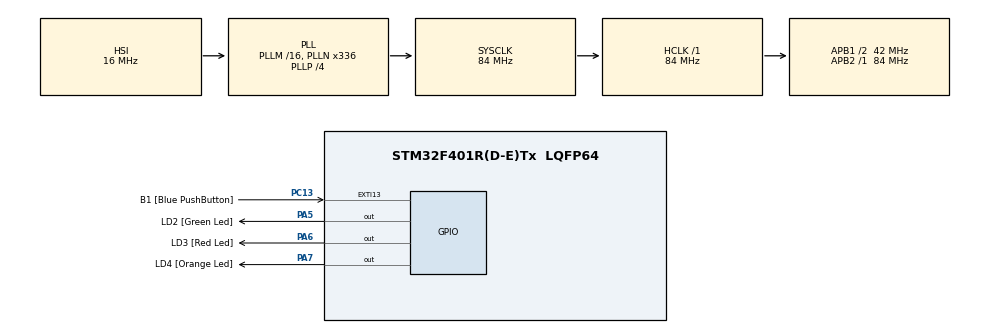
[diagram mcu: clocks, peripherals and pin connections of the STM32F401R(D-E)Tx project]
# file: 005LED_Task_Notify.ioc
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Mcu.Family=STM32F4
Mcu.Name=STM32F401R(D-E)Tx
Mcu.Package=LQFP64
NVIC.PriorityGroup=NVIC_PRIORITYGROUP_4
NVIC.TIM5_IRQn=true\:0\:0\:false\:false\:true\:false\:true\:true
NVIC.TimeBase=TIM5_IRQn
NVIC.TimeBaseIP=TIM5
PA13.GPIO_Label=TMS
PA13.Signal=SYS_JTMS-SWDIO
PA14.GPIO_Label=TCK
PA14.Signal=SYS_JTCK-SWCLK
PA2.GPIO_Label=USART_TX
PA2.GPIO_Mode=GPIO_MODE_AF_PP
PA2.GPIO_PuPd=GPIO_NOPULL
PA2.GPIO_Speed=GPIO_SPEED_FREQ_LOW
PA2.Signal=USART2_TX
PA3.GPIO_Label=USART_RX
PA3.GPIO_Mode=GPIO_MODE_AF_PP
PA3.GPIO_PuPd=GPIO_NOPULL
PA3.GPIO_Speed=GPIO_SPEED_FREQ_LOW
PA3.Signal=USART2_RX
PA5.GPIO_Label=LD2 [Green Led]
PA5.GPIO_Mode=GPIO_MODE_OUTPUT_PP
PA5.GPIO_PuPd=GPIO_NOPULL
PA5.GPIO_Speed=GPIO_SPEED_FREQ_LOW
PA5.Signal=GPIO_Output
PA6.GPIO_Label=LD3 [Red Led]
PA6.Signal=GPIO_Output
PA7.GPIO_Label=LD4 [Orange Led]
PA7.Signal=GPIO_Output
PB3.GPIO_Label=SWO
PB3.Signal=SYS_JTDO-SWO
PC13-ANTI_TAMP.GPIO_Label=B1 [Blue PushButton]
PC13-ANTI_TAMP.GPIO_ModeDefaultEXTI=GPIO_MODE_IT_FALLING
PC13-ANTI_TAMP.GPIO_PuPd=GPIO_NOPULL
PC13-ANTI_TAMP.Signal=GPXTI13
PC14-OSC32_IN.Signal=RCC_OSC32_IN
PC15-OSC32_OUT.Signal=RCC_OSC32_OUT
PH0\ -\ OSC_IN.Signal=RCC_OSC_IN
PH1\ -\ OSC_OUT.Signal=RCC_OSC_OUT
ProjectManager.HeapSize=0x200
ProjectManager.StackSize=0x400
ProjectManager.TargetToolchain=STM32CubeIDE
RCC.AHBFreq_Value=84000000
RCC.APB1CLKDivider=RCC_HCLK_DIV2
RCC.APB1Freq_Value=42000000
RCC.APB1TimFreq_Value=84000000
RCC.APB2Freq_Value=84000000
RCC.APB2TimFreq_Value=84000000
RCC.CortexFreq_Value=84000000
RCC.HCLKFreq_Value=84000000
RCC.HSE_VALUE=8000000
RCC.HSI_VALUE=16000000
RCC.LSE_VALUE=32768
RCC.PLLN=336
RCC.PLLP=RCC_PLLP_DIV4
RCC.PLLQ=7
RCC.SYSCLKFreq_VALUE=84000000
RCC.SYSCLKSource=RCC_SYSCLKSOURCE_PLLCLK
RCC.VCOOutputFreq_Value=336000000
VP_SYS_VS_tim5.Mode=TIM5
board=NUCLEO-F401RE

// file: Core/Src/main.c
/* USER CODE BEGIN Header */
/**
  ******************************************************************************
  * @file           : main.c
  * @brief          : Main program body
  ******************************************************************************
  * @attention
  *
  * Copyright (c) 2024 STMicroelectronics.
  * All rights reserved.
  *
  * This software is licensed under terms that can be found in the LICENSE file
  * in the root directory of this software component.
  * If no LICENSE file comes with this software, it is provided AS-IS.
  *
  ******************************************************************************
  */
/* USER CODE END Header */
#include "main.h"

/* USER CODE BEGIN Includes */
#include <stdio.h>
#include "FreeRTOS.h"
#include "task.h"
/* USER CODE END Includes */

/* USER CODE BEGIN PV */
#define DWT_CTRL (*(volatile uint32_t*)0xE0001000)
/* USER CODE END PV */

void SystemClock_Config(void);
static void MX_GPIO_Init(void);
/* USER CODE BEGIN PFP */
static void led_green_handler(void* parameters);
static void led_red_handler(void* parameters);
static void led_orange_handler(void* parameters);
static void button_handler(void* parameters);

TaskHandle_t ledg_task_handle;
TaskHandle_t ledo_task_handle;
TaskHandle_t ledr_task_handle;
TaskHandle_t btn_task_handle;

TaskHandle_t volatile next_task_handle;

/* USER CODE END PFP */

int main(void)
{

  /* USER CODE BEGIN 1 */

	BaseType_t status;

  /* USER CODE END 1 */

  /* MCU Configuration--------------------------------------------------------*/

  /* Reset of all peripherals, Initializes the Flash interface and the Systick. */
  HAL_Init();

  /* Configure the system clock */
  SystemClock_Config();

  /* Initialize all configured peripherals */
  MX_GPIO_Init();
  /* USER CODE BEGIN 2 */

  //Enable the CYCCNT counter
  DWT_CTRL |= (1 << 0);

  SEGGER_SYSVIEW_Conf();

  SEGGER_SYSVIEW_Start();

  status = xTaskCreate(led_green_handler,"LED_green_task",200,NULL,3,&ledg_task_handle);

  configASSERT(status == pdPASS);

  next_task_handle = ledg_task_handle;

  status = xTaskCreate(led_red_handler,"LED_red_task",200,NULL,1,&ledr_task_handle);

  configASSERT(status == pdPASS);

  status = xTaskCreate(led_orange_handler,"LED_orange_task",200,NULL,2,&ledo_task_handle);

  configASSERT(status == pdPASS);

  status = xTaskCreate(button_handler,"Button_task",200,NULL,4,&btn_task_handle);

  configASSERT(status == pdPASS);

  //start the freeRTOS scheduler
  vTaskStartScheduler();

  /* USER CODE END 2 */

  /* Infinite loop */
  while (1)
  {
	  /*
	      HAL_GPIO_TogglePin(GPIOA, LED_GREEN_PIN);   // PA5
	      HAL_GPIO_TogglePin(GPIOA, LED_RED_PIN);     // PA6
	      HAL_GPIO_TogglePin(GPIOA, LED_ORANGE_PIN);  // PA7
	      HAL_Delay(1000);  // 1 sekunda pauze
	  */

  }
}

void SystemClock_Config(void)
{
  RCC_OscInitTypeDef RCC_OscInitStruct = {0};
  RCC_ClkInitTypeDef RCC_ClkInitStruct = {0};

  /** Configure the main internal regulator output voltage
  */
  __HAL_RCC_PWR_CLK_ENABLE();
  __HAL_PWR_VOLTAGESCALING_CONFIG(PWR_REGULATOR_VOLTAGE_SCALE2);

  /** Initializes the RCC Oscillators according to the specified parameters
  * in the RCC_OscInitTypeDef structure.
  */
  RCC_OscInitStruct.OscillatorType = RCC_OSCILLATORTYPE_HSI;
  RCC_OscInitStruct.HSIState = RCC_HSI_ON;
  RCC_OscInitStruct.HSICalibrationValue = RCC_HSICALIBRATION_DEFAULT;
  RCC_OscInitStruct.PLL.PLLState = RCC_PLL_ON;
  RCC_OscInitStruct.PLL.PLLSource = RCC_PLLSOURCE_HSI;
  RCC_OscInitStruct.PLL.PLLM = 16;
  RCC_OscInitStruct.PLL.PLLN = 336;
  RCC_OscInitStruct.PLL.PLLP = RCC_PLLP_DIV4;
  RCC_OscInitStruct.PLL.PLLQ = 7;
  if (HAL_RCC_OscConfig(&RCC_OscInitStruct) != HAL_OK)
  {
    Error_Handler();
  }

  /** Initializes the CPU, AHB and APB buses clocks
  */
  RCC_ClkInitStruct.ClockType = RCC_CLOCKTYPE_HCLK|RCC_CLOCKTYPE_SYSCLK
                              |RCC_CLOCKTYPE_PCLK1|RCC_CLOCKTYPE_PCLK2;
  RCC_ClkInitStruct.SYSCLKSource = RCC_SYSCLKSOURCE_PLLCLK;
  RCC_ClkInitStruct.AHBCLKDivider = RCC_SYSCLK_DIV1;
  RCC_ClkInitStruct.APB1CLKDivider = RCC_HCLK_DIV2;
  RCC_ClkInitStruct.APB2CLKDivider = RCC_HCLK_DIV1;

  if (HAL_RCC_ClockConfig(&RCC_ClkInitStruct, FLASH_LATENCY_2) != HAL_OK)
  {
    Error_Handler();
  }
}

static void MX_GPIO_Init(void)
{
  GPIO_InitTypeDef GPIO_InitStruct = {0};

  /* GPIO Ports Clock Enable */
  __HAL_RCC_GPIOC_CLK_ENABLE();
  __HAL_RCC_GPIOH_CLK_ENABLE();
  __HAL_RCC_GPIOA_CLK_ENABLE();
  __HAL_RCC_GPIOB_CLK_ENABLE();

  /*Configure GPIO pin Output Level */
  HAL_GPIO_WritePin(GPIOA, LD2_Pin|LD3_Pin|LD4_Pin, GPIO_PIN_RESET);

  /*Configure GPIO pin : B1_Pin */
  GPIO_InitStruct.Pin = B1_Pin;
  GPIO_InitStruct.Mode = GPIO_MODE_IT_FALLING;
  GPIO_InitStruct.Pull = GPIO_NOPULL;
  HAL_GPIO_Init(B1_GPIO_Port, &GPIO_InitStruct);

  /*Configure GPIO pins : USART_TX_Pin USART_RX_Pin */
  GPIO_InitStruct.Pin = USART_TX_Pin|USART_RX_Pin;
  GPIO_InitStruct.Mode = GPIO_MODE_AF_PP;
  GPIO_InitStruct.Pull = GPIO_NOPULL;
  GPIO_InitStruct.Speed = GPIO_SPEED_FREQ_LOW;
  GPIO_InitStruct.Alternate = GPIO_AF7_USART2;
  HAL_GPIO_Init(GPIOA, &GPIO_InitStruct);

  /*Configure GPIO pins : LD2_Pin LD3_Pin LD4_Pin */
  GPIO_InitStruct.Pin = LD2_Pin|LD3_Pin|LD4_Pin;
  GPIO_InitStruct.Mode = GPIO_MODE_OUTPUT_PP;
  GPIO_InitStruct.Pull = GPIO_NOPULL;
  GPIO_InitStruct.Speed = GPIO_SPEED_FREQ_LOW;
  HAL_GPIO_Init(GPIOA, &GPIO_InitStruct);

}

/* USER CODE BEGIN 4 */
static void led_green_handler(void* parameters)
{
	BaseType_t status;
	while(1)
	{
		SEGGER_SYSVIEW_PrintfTarget("Toggling green LED");
		HAL_GPIO_TogglePin(GPIOA, LED_GREEN_PIN);
		status = xTaskNotifyWait(0,0,NULL,pdMS_TO_TICKS(1000));
		if(status == pdTRUE)
		{
			vTaskSuspendAll();
			next_task_handle = ledo_task_handle;
			xTaskResumeAll();
			HAL_GPIO_WritePin(GPIOA, LED_GREEN_PIN, GPIO_PIN_SET);
			SEGGER_SYSVIEW_PrintfTarget("Delete Green LED Task");
			vTaskDelete(NULL);
		}
	}
}

static void led_orange_handler(void* parameters)
{
	BaseType_t status;
	while(1)
	{
		SEGGER_SYSVIEW_PrintfTarget("Toggling orange LED");
		HAL_GPIO_TogglePin(GPIOA, LED_ORANGE_PIN);
		status = xTaskNotifyWait(0,0,NULL,pdMS_TO_TICKS(800));
		if(status == pdTRUE)
		{
			vTaskSuspendAll();
			next_task_handle = ledr_task_handle;
			xTaskResumeAll();
			HAL_GPIO_WritePin(GPIOA, LED_ORANGE_PIN, GPIO_PIN_SET);
			SEGGER_SYSVIEW_PrintfTarget("Delete Orange LED Task");
			vTaskDelete(NULL);
		}
	}
}

static void led_red_handler(void* parameters)
{
	BaseType_t status;
	while(1)
	{
		SEGGER_SYSVIEW_PrintfTarget("Toggling red LED");
		HAL_GPIO_TogglePin(GPIOA, LED_RED_PIN);
		status = xTaskNotifyWait(0,0,NULL,pdMS_TO_TICKS(400));
		if(status == pdTRUE)
				{
					vTaskSuspendAll();
					next_task_handle = NULL;
					xTaskResumeAll();
					HAL_GPIO_WritePin(GPIOA, LED_RED_PIN, GPIO_PIN_SET);
					SEGGER_SYSVIEW_PrintfTarget("Delete Red LED Task");
					vTaskDelete(btn_task_handle);
					vTaskDelete(NULL);
				}
	}
}

static void button_handler(void* parameters)
{
    uint8_t btn_read = 0;
    uint8_t prev_read = 0;
    while(1)
    {
        btn_read = HAL_GPIO_ReadPin(GPIOC, GPIO_PIN_13);

        // Pull down taster (active low)
        if(!btn_read) // taster pritisnut kada je btn_read 0
        {
            if(prev_read)
                xTaskNotify(next_task_handle, 0, eNoAction);
        }
        prev_read = btn_read;
        vTaskDelay(pdMS_TO_TICKS(10));
    }
}

/* USER CODE END 4 */

void HAL_TIM_PeriodElapsedCallback(TIM_HandleTypeDef *htim)
{
  if (htim->Instance == TIM5) {
    HAL_IncTick();
  }
}

void Error_Handler(void)
{
  __disable_irq();
  while (1)
  {
  }
}
